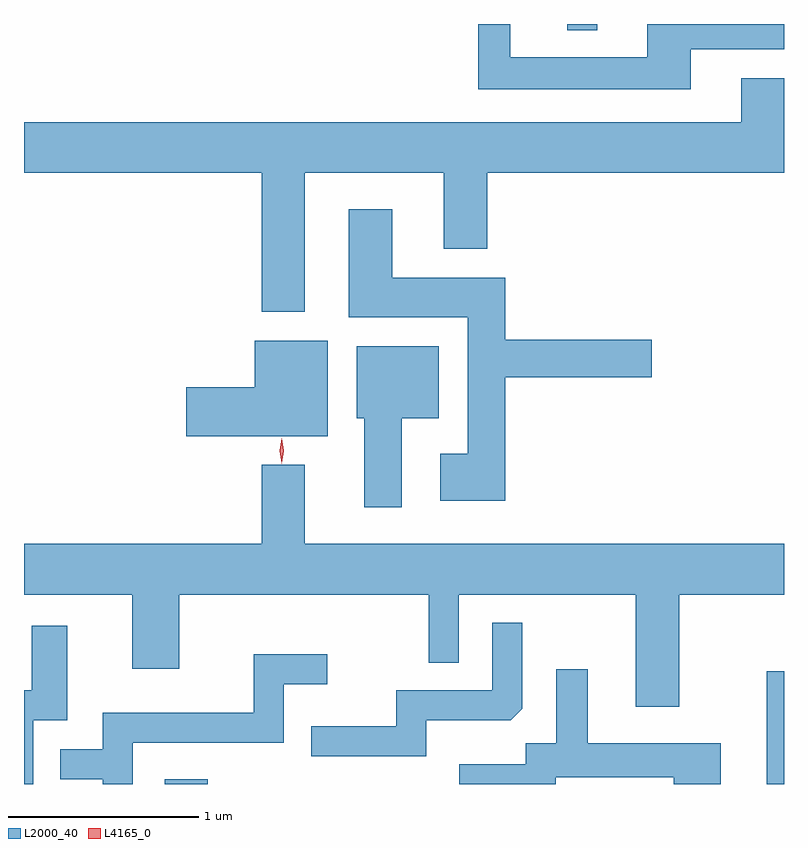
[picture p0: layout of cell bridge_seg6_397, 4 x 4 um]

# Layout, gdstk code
import gdstk
lib = gdstk.Library(unit=1e-6, precision=1e-09)
def R(c, l, rs):  # rectangles x0, y0, x1, y1
    for r in rs: c.add(gdstk.rectangle(r[:2], r[2:], *l))
def P(c, l, *ps):  # polygons
    for p in ps: c.add(gdstk.Polygon(p, *l))
L2000_40 = (2000, 40)
L4165_0 = (4165, 0)

bridge_seg6_397 = lib.new_cell('bridge_seg6_397')
R(bridge_seg6_397, L2000_40, [(878.591,1648.94,878.819,1648.964), (881.761,1648.94,881.851,1649.534), (880.711,1652.908,880.869,1652.94)])
P(bridge_seg6_397, L2000_40, [(881.359,1652.806),(881.851,1652.806),(881.851,1652.94),(881.131,1652.94),(881.131,1652.764),(880.409,1652.764),(880.409,1652.94),(880.241,1652.94),(880.241,1652.596),(881.359,1652.596)],
  [(879.329,1652.156),(880.061,1652.156),(880.061,1651.756),(880.289,1651.756),(880.289,1652.156),(881.851,1652.156),(881.851,1652.654),(881.626,1652.654),(881.626,1652.424),(877.851,1652.424),(877.851,1652.156),(879.101,1652.156),(879.101,1651.426),(879.329,1651.426)],
  [(880.384,1651.081),(881.154,1651.081),(881.154,1651.279),(880.384,1651.279),(880.384,1651.604),(879.789,1651.604),(879.789,1651.964),(879.561,1651.964),(879.561,1651.396),(880.186,1651.396),(880.186,1650.679),(880.041,1650.679),(880.041,1650.431),(880.384,1650.431)],
  [(879.449,1651.274),(879.066,1651.274),(879.066,1651.029),(878.706,1651.029),(878.706,1650.771),(879.449,1650.771)],
  [(879.839,1650.866),(880.034,1650.866),(880.034,1651.244),(879.601,1651.244),(879.601,1650.866),(879.641,1650.866),(879.641,1650.396),(879.839,1650.396)],
  [(881.299,1649.936),(881.851,1649.936),(881.851,1650.204),(879.329,1650.204),(879.329,1650.619),(879.101,1650.619),(879.101,1650.204),(877.851,1650.204),(877.851,1649.936),(878.421,1649.936),(878.421,1649.546),(878.669,1649.546),(878.669,1649.936),(879.981,1649.936),(879.981,1649.578),(880.139,1649.578),(880.139,1649.936),(881.071,1649.936),(881.071,1649.346),(881.299,1649.346)],
  [(879.969,1649.276),(880.414,1649.276),(880.474,1649.337),(880.474,1649.788),(880.316,1649.788),(880.316,1649.434),(879.811,1649.434),(879.811,1649.244),(879.363,1649.244),(879.363,1649.086),(879.969,1649.086)],
  [(877.899,1649.276),(878.079,1649.276),(878.079,1649.774),(877.891,1649.774),(877.891,1649.434),(877.851,1649.434),(877.851,1648.94),(877.899,1648.94)],
  [(878.424,1649.156),(879.219,1649.156),(879.219,1649.466),(879.448,1649.466),(879.448,1649.624),(879.061,1649.624),(879.061,1649.314),(878.266,1649.314),(878.266,1649.124),(878.043,1649.124),(878.043,1648.966),(878.266,1648.966),(878.266,1648.94),(878.424,1648.94)],
  [(880.649,1648.976),(881.271,1648.976),(881.271,1648.94),(881.519,1648.94),(881.519,1649.154),(880.819,1649.154),(880.819,1649.543),(880.651,1649.543),(880.651,1649.154),(880.491,1649.154),(880.491,1649.044),(880.141,1649.044),(880.141,1648.94),(880.649,1648.94)])
P(bridge_seg6_397, L4165_0, [(879.208,1650.626),(879.207,1650.627),(879.198,1650.693),(879.207,1650.76),(879.208,1650.76),(879.208,1650.76),(879.218,1650.693),(879.208,1650.627)])

lib.write_gds('bridge_seg6_397.gds')
